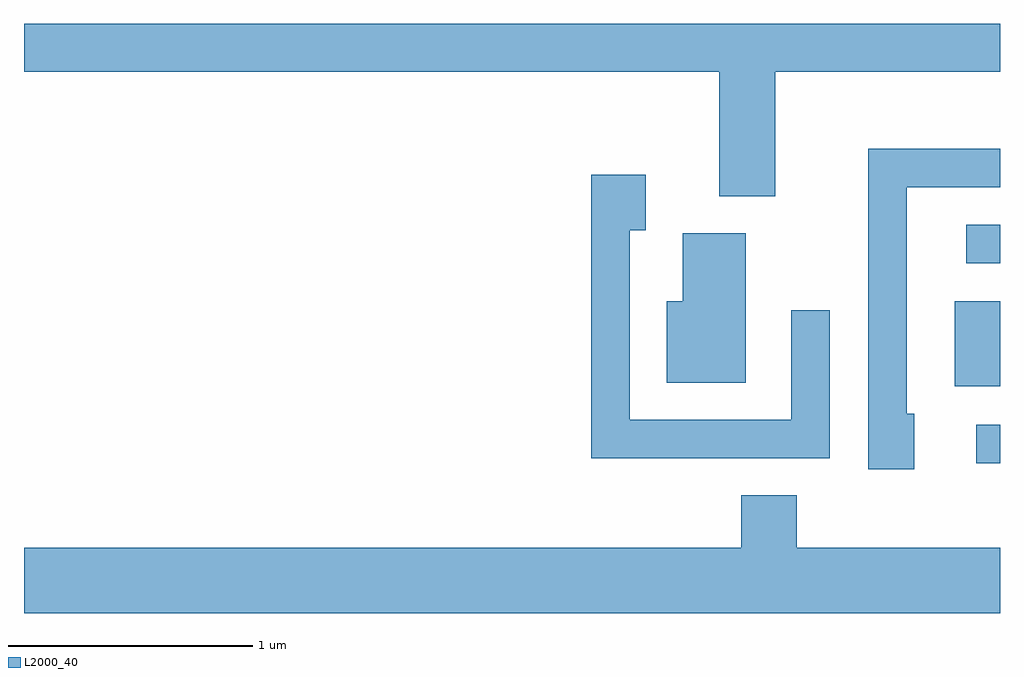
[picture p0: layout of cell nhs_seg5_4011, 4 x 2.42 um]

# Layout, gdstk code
import gdstk
lib = gdstk.Library(unit=1e-6, precision=1e-09)
def R(c, l, rs):  # rectangles x0, y0, x1, y1
    for r in rs: c.add(gdstk.rectangle(r[:2], r[2:], *l))
def P(c, l, *ps):  # polygons
    for p in ps: c.add(gdstk.Polygon(p, *l))
L2000_40 = (2000, 40)

nhs_seg5_4011 = lib.new_cell('nhs_seg5_4011')
R(nhs_seg5_4011, L2000_40, [(307.513,1486.271,307.611,1486.429), (307.426,1486.586,307.611,1486.934), (307.473,1487.091,307.611,1487.249)])
P(nhs_seg5_4011, L2000_40, [(306.689,1487.876),(307.611,1487.876),(307.611,1488.072),(303.611,1488.072),(303.611,1487.876),(306.461,1487.876),(306.461,1487.366),(306.689,1487.366)],
  [(307.259,1486.474),(307.229,1486.474),(307.229,1487.401),(307.611,1487.401),(307.611,1487.559),(307.071,1487.559),(307.071,1486.246),(307.259,1486.246)],
  [(306.914,1486.898),(306.756,1486.898),(306.756,1486.449),(306.094,1486.449),(306.094,1487.226),(306.159,1487.226),(306.159,1487.454),(305.936,1487.454),(305.936,1486.291),(306.914,1486.291)],
  [(306.569,1487.214),(306.311,1487.214),(306.311,1486.934),(306.246,1486.934),(306.246,1486.601),(306.569,1486.601)],
  [(307.611,1485.924),(306.779,1485.924),(306.779,1486.139),(306.551,1486.139),(306.551,1485.924),(303.611,1485.924),(303.611,1485.656),(307.611,1485.656)])

lib.write_gds('nhs_seg5_4011.gds')
